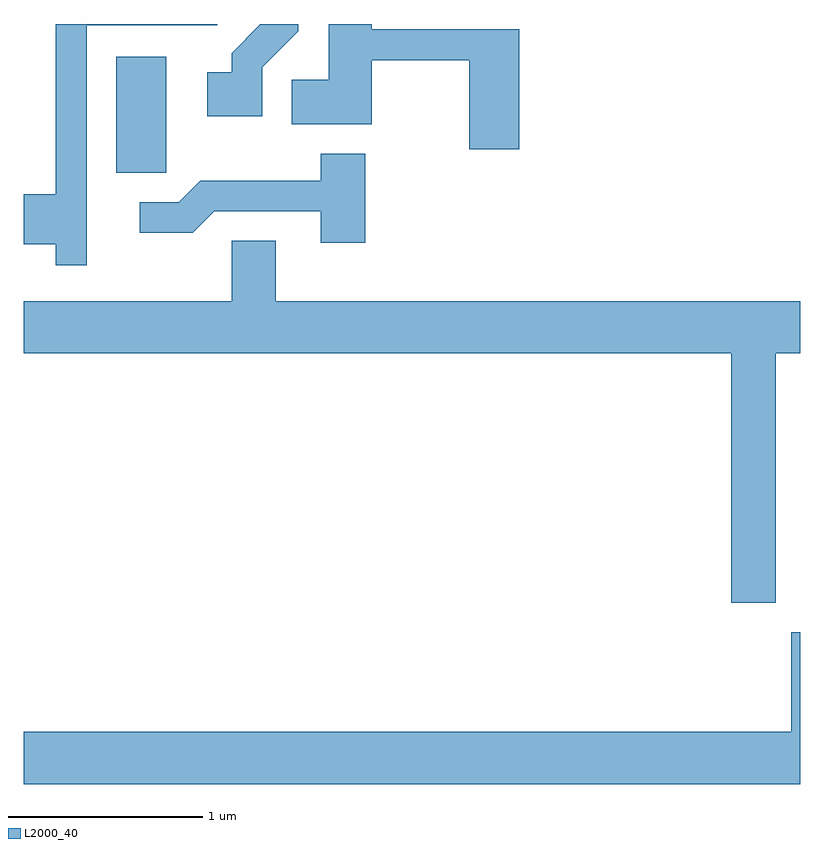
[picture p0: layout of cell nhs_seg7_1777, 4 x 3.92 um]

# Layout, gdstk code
import gdstk
lib = gdstk.Library(unit=1e-6, precision=1e-09)
def R(c, l, rs):  # rectangles x0, y0, x1, y1
    for r in rs: c.add(gdstk.rectangle(r[:2], r[2:], *l))
def P(c, l, *ps):  # polygons
    for p in ps: c.add(gdstk.Polygon(p, *l))
L2000_40 = (2000, 40)

nhs_seg7_1777 = lib.new_cell('nhs_seg7_1777')
R(nhs_seg7_1777, L2000_40, [(240.086,1697.486,240.344,1698.084)])
P(nhs_seg7_1777, L2000_40, [(239.934,1698.246),(240.608,1698.246),(240.608,1698.252),(239.776,1698.252),(239.776,1697.374),(239.611,1697.374),(239.611,1697.116),(239.776,1697.116),(239.776,1697.008),(239.934,1697.008)],
  [(240.839,1698.029),(241.024,1698.214),(241.024,1698.252),(240.826,1698.252),(240.826,1698.247),(240.681,1698.102),(240.681,1698.004),(240.556,1698.004),(240.556,1697.776),(240.839,1697.776)],
  [(242.164,1698.224),(241.404,1698.224),(241.404,1698.252),(241.181,1698.252),(241.181,1697.964),(240.991,1697.964),(240.991,1697.736),(241.404,1697.736),(241.404,1698.066),(241.906,1698.066),(241.906,1697.606),(242.164,1697.606)],
  [(241.369,1697.584),(241.141,1697.584),(241.141,1697.444),(240.519,1697.444),(240.409,1697.334),(240.208,1697.334),(240.208,1697.176),(240.482,1697.176),(240.592,1697.286),(241.141,1697.286),(241.141,1697.126),(241.369,1697.126)],
  [(243.484,1696.556),(243.611,1696.556),(243.611,1696.824),(240.909,1696.824),(240.909,1697.134),(240.681,1697.134),(240.681,1696.824),(239.611,1696.824),(239.611,1696.556),(243.256,1696.556),(243.256,1695.271),(243.484,1695.271)],
  [(243.611,1695.119),(243.566,1695.119),(243.566,1694.604),(239.611,1694.604),(239.611,1694.336),(243.611,1694.336)])

lib.write_gds('nhs_seg7_1777.gds')
